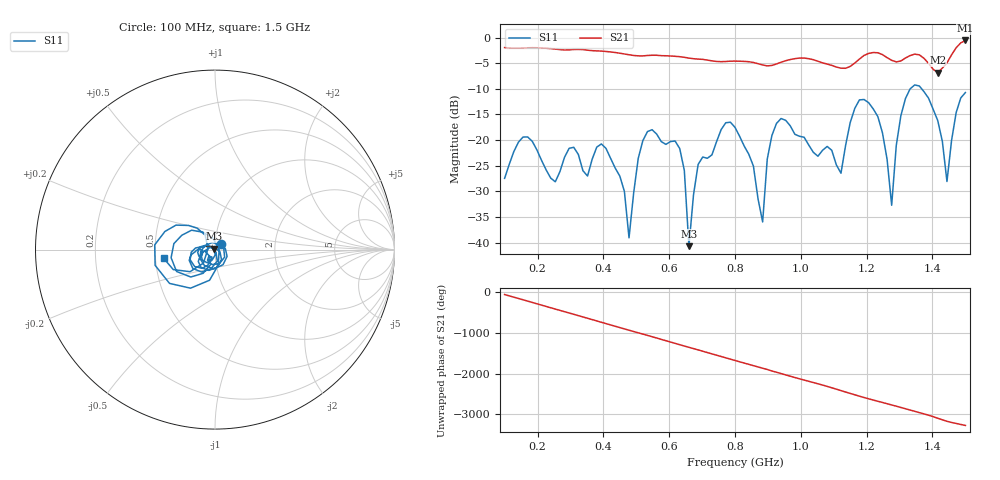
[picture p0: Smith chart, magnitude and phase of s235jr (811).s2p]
! NanoVNA-App
! Date: 2025-09-25 15:10:29
! Start: 100MHz Stop: 1,5GHz Points: 101
! S-Parameter data: F S11 S21 S12 S22
# Hz S RI R 50
!  Frequency  S11_Real  S11_Imag  S21_Real  S21_Imag  S12_Real  S12_Imag  S22_Real  S22_Imag
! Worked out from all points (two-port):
!   101 points, 100 MHz to 1.5 GHz, reference 50 ohm
!   highest |S21| = -0.57 dB at 1.5 GHz (marker M1); lowest = -6.8 dB at 1.416 GHz (marker M2)
!   |S21| within 3 dB of the highest: start of sweep to 505.6 MHz; 522.2 MHz to 594.1 MHz (71.92 MHz wide, 12.9 % of centre) (the widest 2 of 5)
!   lowest |S11| = -40.7 dB at 660 MHz (marker M3), VSWR 1.02, Z = 49.3 + j0.568 ohm
!   |S11| at or under -10 dB: start of sweep to 1.332 GHz; 1.367 GHz to end of sweep
!   S12 and S22 are empty: the file has one direction only
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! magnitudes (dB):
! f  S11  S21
! 100 MHz  -27.5  -2.0
! 156 MHz  -19.4  -2.0
! 338 MHz  -26.0  -2.4
! 408 MHz  -21.6  -2.7
! 478 MHz  -39.1  -3.4
! 520 MHz  -20.1  -3.6
! 576 MHz  -20.3  -3.5
! 632 MHz  -21.6  -3.7
! 660 MHz  -40.7  -4.0
! 688 MHz  -24.7  -4.2
! 800 MHz  -17.5  -4.6
! 884 MHz  -36.0  -5.4
! 926 MHz  -16.8  -5.2
! 1.038 GHz  -22.4  -4.3
! 1.122 GHz  -26.5  -6.0
! 1.192 GHz  -12.1  -3.5
! 1.248 GHz  -18.6  -3.3
! 1.276 GHz  -32.7  -4.5
! 1.332 GHz  -10.0  -3.5
! 1.416 GHz  -16.2  -6.8
! 1.444 GHz  -28.1  -4.9
! 1.5 GHz  -10.7  -0.6
